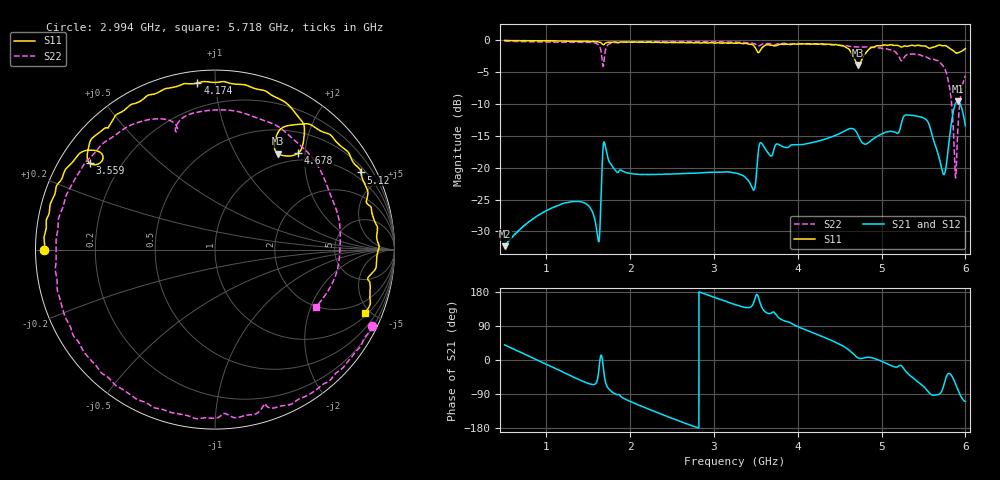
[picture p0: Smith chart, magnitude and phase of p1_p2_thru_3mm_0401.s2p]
# Hz S DB R 50
! CMT, C2409, 19096212, 19.2.3/2
! Date: 4/1/2022 3:36:35 AM
! Data: Format (Calibration Info)
! Freq	S11:dB/Ang(F2)	S21:dB/Ang(F2)	S12:dB/Ang(F2)	S22:dB/Ang(F2)
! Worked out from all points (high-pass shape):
!   5001 points, 500 MHz to 6 GHz, reference 50 ohm
!   highest |S21| = -9.54 dB at 5.908 GHz (marker M1); lowest = -32.3 dB at 500.5 MHz (marker M2)
!   |S21| within 3 dB of the highest: 5.246 GHz to 5.538 GHz (292 MHz wide, 5.41 % of centre); 5.838 GHz to 5.988 GHz (150.3 MHz wide, 2.54 % of centre)
!   lowest |S11| = -3.9 dB at 4.722 GHz (marker M3), VSWR 4.56, Z = 41.9 + j75.8 ohm
!   |S11| at or under -10 dB: nowhere
!   |S22| runs from -21.6 to -0.1 dB; largest |S21 - S12| = 0.0046
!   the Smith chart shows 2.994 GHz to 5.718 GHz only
!   S11 on the Smith chart (normalised r, x): 2.994 GHz: 0.03, +0.00; 3.559 GHz: 0.09, +0.31; 4.174 GHz: 0.06, +0.90; 4.678 GHz: 0.86, +1.86; 5.12 GHz: 0.70, +3.92; 5.718 GHz: 1.17, -4.64
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5e8  -0.03 -28.3  -32.30 39.8  -32.31 39.8  -0.13 -70.9
5.004972e8  -0.04 -28.3  -32.30 39.7  -32.29 39.7  -0.13 -71.0
1.049537e9  -0.11 -59.7  -26.39 -16.7  -26.37 -16.6  -0.29 -153.3
1.416977e9  -0.18 -81.1  -25.37 -54.5  -25.35 -54.6  -0.33 150.6
1.618047e9  -0.26 -94.1  -31.44 -39.6  -31.43 -39.9  -0.68 116.2
1.688702e9  -0.65 -96.2  -15.96 -38.9  -15.93 -39.0  -2.95 125.6
1.905466e9  -0.28 -109.5  -20.51 -99.2  -20.49 -99.3  -0.32 88.9
2.333793e9  -0.35 -136.4  -21.03 -139.7  -21.01 -140.0  -0.21 38.0
2.993618e9  -0.44 180.0  -20.71 166.2  -20.69 165.7  -0.25 -25.9
3.251061e9  -0.49 161.7  -20.82 146.2  -20.81 145.7  -0.26 -48.7
3.461151e9  -0.72 143.8  -23.33 145.7  -23.34 145.2  -0.49 -67.6
3.558831e9  -1.43 145.4  -16.07 144.8  -16.04 144.0  -0.73 -73.4
4.168149e9  -0.60 96.6  -16.06 72.9  -16.11 72.4  -0.56 -126.0
4.174369e9  -0.59 96.0  -16.04 72.3  -16.08 71.8  -0.57 -126.5
4.677538e9  -2.97 49.3  -14.04 12.7  -14.15 12.7  -1.03 -175.6
4.721915e9  -3.88 56.6  -14.99 5.2  -15.09 4.9  -1.06 179.3
5.084846e9  -0.77 30.7  -14.33 -11.9  -14.41 -12.0  -1.45 131.2
5.120348e9  -0.72 27.8  -14.32 -15.6  -14.40 -15.7  -1.53 124.5
5.435004e9  -0.78 1.0  -11.95 -57.6  -11.99 -57.5  -2.26 67.3
5.717618e9  -0.85 -23.0  -20.19 -82.2  -20.22 -82.6  -3.77 -29.4
5.90827e9  -1.99 -38.4  -9.54 -77.0  -9.63 -76.8  -14.51 -19.4
6e9  -1.31 -43.7  -13.42 -109.7  -13.51 -109.7  -5.54 -66.7
